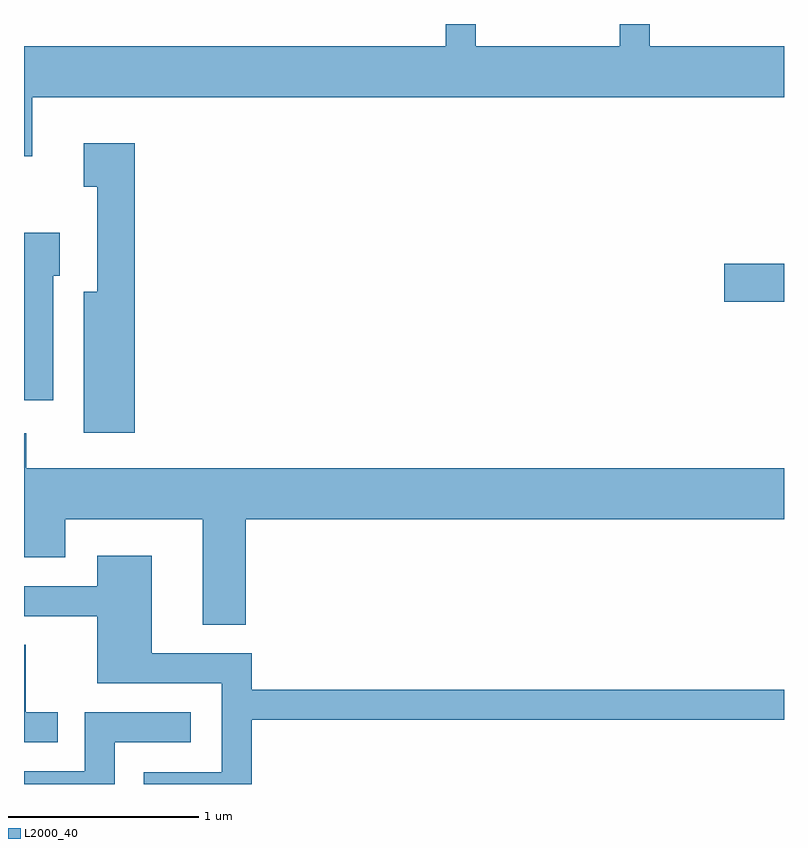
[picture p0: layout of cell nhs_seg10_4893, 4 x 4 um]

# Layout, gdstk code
import gdstk
lib = gdstk.Library(unit=1e-6, precision=1e-09)
def R(c, l, rs):  # rectangles x0, y0, x1, y1
    for r in rs: c.add(gdstk.rectangle(r[:2], r[2:], *l))
def P(c, l, *ps):  # polygons
    for p in ps: c.add(gdstk.Polygon(p, *l))
L2000_40 = (2000, 40)

nhs_seg10_4893 = lib.new_cell('nhs_seg10_4893')
R(nhs_seg10_4893, L2000_40, [(333.296,2115.061,333.611,2115.259)])
P(nhs_seg10_4893, L2000_40, [(329.654,2116.136),(333.611,2116.136),(333.611,2116.404),(332.904,2116.404),(332.904,2116.522),(332.746,2116.522),(332.746,2116.404),(331.989,2116.404),(331.989,2116.522),(331.831,2116.522),(331.831,2116.404),(329.611,2116.404),(329.611,2115.826),(329.654,2115.826)],
  [(330.194,2115.894),(329.926,2115.894),(329.926,2115.666),(329.996,2115.666),(329.996,2115.114),(329.926,2115.114),(329.926,2114.371),(330.194,2114.371)],
  [(329.764,2115.196),(329.799,2115.196),(329.799,2115.424),(329.611,2115.424),(329.611,2114.541),(329.764,2114.541)],
  [(330.779,2113.916),(333.611,2113.916),(333.611,2114.184),(329.624,2114.184),(329.624,2114.369),(329.611,2114.369),(329.611,2113.716),(329.829,2113.716),(329.829,2113.916),(330.551,2113.916),(330.551,2113.361),(330.779,2113.361)],
  [(330.809,2112.861),(333.611,2112.861),(333.611,2113.019),(330.809,2113.019),(330.809,2113.209),(330.284,2113.209),(330.284,2113.724),(329.996,2113.724),(329.996,2113.564),(329.611,2113.564),(329.611,2113.406),(329.996,2113.406),(329.996,2113.051),(330.651,2113.051),(330.651,2112.584),(330.241,2112.584),(330.241,2112.522),(330.809,2112.522)],
  [(329.788,2112.899),(329.619,2112.899),(329.619,2113.254),(329.611,2113.254),(329.611,2112.741),(329.788,2112.741)],
  [(330.089,2112.741),(330.488,2112.741),(330.488,2112.899),(329.931,2112.899),(329.931,2112.589),(329.611,2112.589),(329.611,2112.522),(330.089,2112.522)])

lib.write_gds('nhs_seg10_4893.gds')
